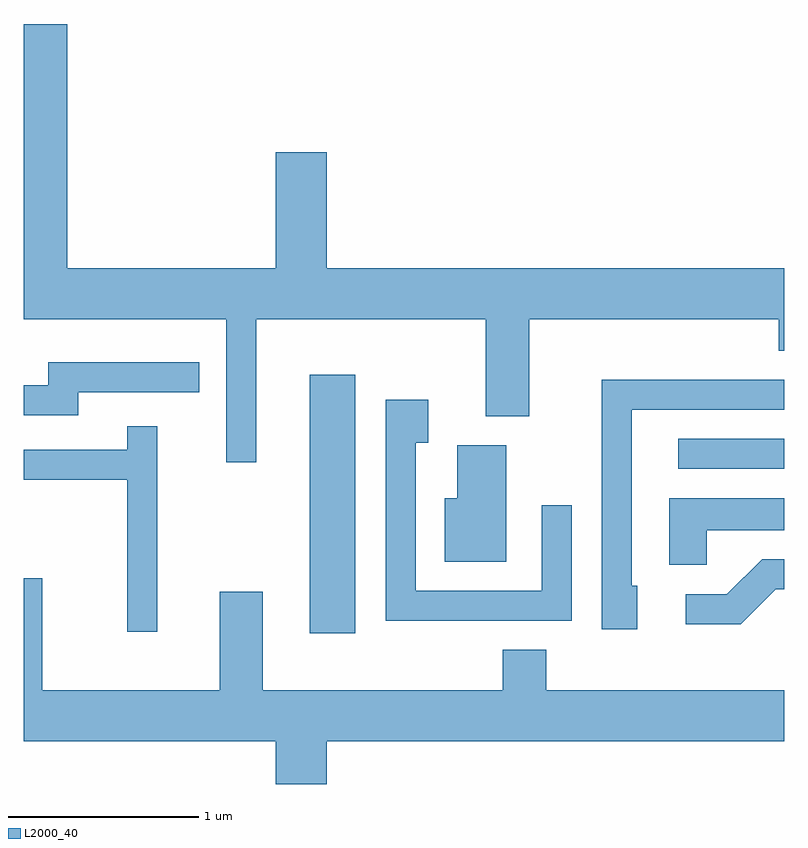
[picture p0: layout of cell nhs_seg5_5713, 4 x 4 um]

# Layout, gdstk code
import gdstk
lib = gdstk.Library(unit=1e-6, precision=1e-09)
def R(c, l, rs):  # rectangles x0, y0, x1, y1
    for r in rs: c.add(gdstk.rectangle(r[:2], r[2:], *l))
def P(c, l, *ps):  # polygons
    for p in ps: c.add(gdstk.Polygon(p, *l))
L2000_40 = (2000, 40)

nhs_seg5_5713 = lib.new_cell('nhs_seg5_5713')
R(nhs_seg5_5713, L2000_40, [(355.116,1512.866,355.354,1514.224), (357.053,1513.731,357.611,1513.889)])
P(nhs_seg5_5713, L2000_40, [(354.834,1514.516),(356.041,1514.516),(356.041,1514.006),(356.269,1514.006),(356.269,1514.516),(357.581,1514.516),(357.581,1514.351),(357.611,1514.351),(357.611,1514.784),(355.204,1514.784),(355.204,1515.394),(354.936,1515.394),(354.936,1514.784),(353.839,1514.784),(353.839,1516.069),(353.611,1516.069),(353.611,1514.516),(354.676,1514.516),(354.676,1513.763),(354.834,1513.763)],
  [(353.899,1514.131),(354.533,1514.131),(354.533,1514.289),(353.741,1514.289),(353.741,1514.169),(353.611,1514.169),(353.611,1514.011),(353.899,1514.011)],
  [(356.839,1513.114),(356.809,1513.114),(356.809,1514.041),(357.611,1514.041),(357.611,1514.199),(356.651,1514.199),(356.651,1512.886),(356.839,1512.886)],
  [(356.494,1513.538),(356.336,1513.538),(356.336,1513.089),(355.674,1513.089),(355.674,1513.866),(355.739,1513.866),(355.739,1514.094),(355.516,1514.094),(355.516,1512.931),(356.494,1512.931)],
  [(354.314,1513.953),(354.156,1513.953),(354.156,1513.829),(353.611,1513.829),(353.611,1513.671),(354.156,1513.671),(354.156,1512.873),(354.314,1512.873)],
  [(356.149,1513.854),(355.891,1513.854),(355.891,1513.574),(355.826,1513.574),(355.826,1513.241),(356.149,1513.241)],
  [(357.204,1513.406),(357.611,1513.406),(357.611,1513.574),(357.006,1513.574),(357.006,1513.226),(357.204,1513.226)],
  [(357.567,1513.096),(357.611,1513.096),(357.611,1513.254),(357.494,1513.254),(357.309,1513.069),(357.093,1513.069),(357.093,1512.911),(357.382,1512.911)],
  [(355.204,1512.296),(357.611,1512.296),(357.611,1512.564),(356.359,1512.564),(356.359,1512.779),(356.131,1512.779),(356.131,1512.564),(354.869,1512.564),(354.869,1513.084),(354.641,1513.084),(354.641,1512.564),(353.709,1512.564),(353.709,1513.154),(353.611,1513.154),(353.611,1512.296),(354.936,1512.296),(354.936,1512.072),(355.204,1512.072)])

lib.write_gds('nhs_seg5_5713.gds')
